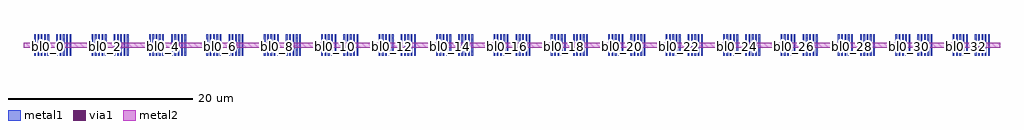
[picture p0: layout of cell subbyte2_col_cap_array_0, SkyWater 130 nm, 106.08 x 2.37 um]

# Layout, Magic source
magic
tech sky130A
magscale 1 2
<< metal1 >>
rect 222 0 258 395
rect 294 0 330 395
rect 438 0 474 395
rect 510 0 546 395
rect 702 0 738 395
rect 774 0 810 395
rect 918 0 954 395
rect 990 0 1026 395
rect 1470 0 1506 395
rect 1542 0 1578 395
rect 1686 0 1722 395
rect 1758 0 1794 395
rect 1950 0 1986 395
rect 2022 0 2058 395
rect 2166 0 2202 395
rect 2238 0 2274 395
rect 2718 0 2754 395
rect 2790 0 2826 395
rect 2934 0 2970 395
rect 3006 0 3042 395
rect 3198 0 3234 395
rect 3270 0 3306 395
rect 3414 0 3450 395
rect 3486 0 3522 395
rect 3966 0 4002 395
rect 4038 0 4074 395
rect 4182 0 4218 395
rect 4254 0 4290 395
rect 4446 0 4482 395
rect 4518 0 4554 395
rect 4662 0 4698 395
rect 4734 0 4770 395
rect 5214 0 5250 395
rect 5286 0 5322 395
rect 5430 0 5466 395
rect 5502 0 5538 395
rect 5694 0 5730 395
rect 5766 0 5802 395
rect 5910 0 5946 395
rect 5982 0 6018 395
rect 6462 0 6498 395
rect 6534 0 6570 395
rect 6678 0 6714 395
rect 6750 0 6786 395
rect 6942 0 6978 395
rect 7014 0 7050 395
rect 7158 0 7194 395
rect 7230 0 7266 395
rect 7710 0 7746 395
rect 7782 0 7818 395
rect 7926 0 7962 395
rect 7998 0 8034 395
rect 8190 0 8226 395
rect 8262 0 8298 395
rect 8406 0 8442 395
rect 8478 0 8514 395
rect 8958 0 8994 395
rect 9030 0 9066 395
rect 9174 0 9210 395
rect 9246 0 9282 395
rect 9438 0 9474 395
rect 9510 0 9546 395
rect 9654 0 9690 395
rect 9726 0 9762 395
rect 10206 0 10242 395
rect 10278 0 10314 395
rect 10422 0 10458 395
rect 10494 0 10530 395
rect 10686 0 10722 395
rect 10758 0 10794 395
rect 10902 0 10938 395
rect 10974 0 11010 395
rect 11454 0 11490 395
rect 11526 0 11562 395
rect 11670 0 11706 395
rect 11742 0 11778 395
rect 11934 0 11970 395
rect 12006 0 12042 395
rect 12150 0 12186 395
rect 12222 0 12258 395
rect 12702 0 12738 395
rect 12774 0 12810 395
rect 12918 0 12954 395
rect 12990 0 13026 395
rect 13182 0 13218 395
rect 13254 0 13290 395
rect 13398 0 13434 395
rect 13470 0 13506 395
rect 13950 0 13986 395
rect 14022 0 14058 395
rect 14166 0 14202 395
rect 14238 0 14274 395
rect 14430 0 14466 395
rect 14502 0 14538 395
rect 14646 0 14682 395
rect 14718 0 14754 395
rect 15198 0 15234 395
rect 15270 0 15306 395
rect 15414 0 15450 395
rect 15486 0 15522 395
rect 15678 0 15714 395
rect 15750 0 15786 395
rect 15894 0 15930 395
rect 15966 0 16002 395
rect 16446 0 16482 395
rect 16518 0 16554 395
rect 16662 0 16698 395
rect 16734 0 16770 395
rect 16926 0 16962 395
rect 16998 0 17034 395
rect 17142 0 17178 395
rect 17214 0 17250 395
rect 17694 0 17730 395
rect 17766 0 17802 395
rect 17910 0 17946 395
rect 17982 0 18018 395
rect 18174 0 18210 395
rect 18246 0 18282 395
rect 18390 0 18426 395
rect 18462 0 18498 395
rect 18942 0 18978 395
rect 19014 0 19050 395
rect 19158 0 19194 395
rect 19230 0 19266 395
rect 19422 0 19458 395
rect 19494 0 19530 395
rect 19638 0 19674 395
rect 19710 0 19746 395
rect 20190 0 20226 395
rect 20262 0 20298 395
rect 20406 0 20442 395
rect 20478 0 20514 395
rect 20670 0 20706 395
rect 20742 0 20778 395
rect 20886 0 20922 395
rect 20958 0 20994 395
<< metal2 >>
rect 0 174 21216 284
use sky130_fd_bd_sram__openram_dp_cell_cap_col  sky130_fd_bd_sram__openram_dp_cell_cap_col_0
timestamp -19799
transform 1 0 20592 0 1 0
box 0 0 624 474
use sky130_fd_bd_sram__openram_dp_cell_cap_col  sky130_fd_bd_sram__openram_dp_cell_cap_col_1
timestamp -19799
transform -1 0 20592 0 1 0
box 0 0 624 474
use sky130_fd_bd_sram__openram_dp_cell_cap_col  sky130_fd_bd_sram__openram_dp_cell_cap_col_2
timestamp -19799
transform 1 0 19344 0 1 0
box 0 0 624 474
use sky130_fd_bd_sram__openram_dp_cell_cap_col  sky130_fd_bd_sram__openram_dp_cell_cap_col_3
timestamp -19799
transform -1 0 19344 0 1 0
box 0 0 624 474
use sky130_fd_bd_sram__openram_dp_cell_cap_col  sky130_fd_bd_sram__openram_dp_cell_cap_col_4
timestamp -19799
transform 1 0 18096 0 1 0
box 0 0 624 474
use sky130_fd_bd_sram__openram_dp_cell_cap_col  sky130_fd_bd_sram__openram_dp_cell_cap_col_5
timestamp -19799
transform -1 0 18096 0 1 0
box 0 0 624 474
use sky130_fd_bd_sram__openram_dp_cell_cap_col  sky130_fd_bd_sram__openram_dp_cell_cap_col_6
timestamp -19799
transform 1 0 16848 0 1 0
box 0 0 624 474
use sky130_fd_bd_sram__openram_dp_cell_cap_col  sky130_fd_bd_sram__openram_dp_cell_cap_col_7
timestamp -19799
transform -1 0 16848 0 1 0
box 0 0 624 474
use sky130_fd_bd_sram__openram_dp_cell_cap_col  sky130_fd_bd_sram__openram_dp_cell_cap_col_8
timestamp -19799
transform 1 0 15600 0 1 0
box 0 0 624 474
use sky130_fd_bd_sram__openram_dp_cell_cap_col  sky130_fd_bd_sram__openram_dp_cell_cap_col_9
timestamp -19799
transform -1 0 15600 0 1 0
box 0 0 624 474
use sky130_fd_bd_sram__openram_dp_cell_cap_col  sky130_fd_bd_sram__openram_dp_cell_cap_col_10
timestamp -19799
transform 1 0 14352 0 1 0
box 0 0 624 474
use sky130_fd_bd_sram__openram_dp_cell_cap_col  sky130_fd_bd_sram__openram_dp_cell_cap_col_11
timestamp -19799
transform -1 0 14352 0 1 0
box 0 0 624 474
use sky130_fd_bd_sram__openram_dp_cell_cap_col  sky130_fd_bd_sram__openram_dp_cell_cap_col_12
timestamp -19799
transform 1 0 13104 0 1 0
box 0 0 624 474
use sky130_fd_bd_sram__openram_dp_cell_cap_col  sky130_fd_bd_sram__openram_dp_cell_cap_col_13
timestamp -19799
transform -1 0 13104 0 1 0
box 0 0 624 474
use sky130_fd_bd_sram__openram_dp_cell_cap_col  sky130_fd_bd_sram__openram_dp_cell_cap_col_14
timestamp -19799
transform 1 0 11856 0 1 0
box 0 0 624 474
use sky130_fd_bd_sram__openram_dp_cell_cap_col  sky130_fd_bd_sram__openram_dp_cell_cap_col_15
timestamp -19799
transform -1 0 11856 0 1 0
box 0 0 624 474
use sky130_fd_bd_sram__openram_dp_cell_cap_col  sky130_fd_bd_sram__openram_dp_cell_cap_col_16
timestamp -19799
transform 1 0 10608 0 1 0
box 0 0 624 474
use sky130_fd_bd_sram__openram_dp_cell_cap_col  sky130_fd_bd_sram__openram_dp_cell_cap_col_17
timestamp -19799
transform -1 0 10608 0 1 0
box 0 0 624 474
use sky130_fd_bd_sram__openram_dp_cell_cap_col  sky130_fd_bd_sram__openram_dp_cell_cap_col_18
timestamp -19799
transform 1 0 9360 0 1 0
box 0 0 624 474
use sky130_fd_bd_sram__openram_dp_cell_cap_col  sky130_fd_bd_sram__openram_dp_cell_cap_col_19
timestamp -19799
transform -1 0 9360 0 1 0
box 0 0 624 474
use sky130_fd_bd_sram__openram_dp_cell_cap_col  sky130_fd_bd_sram__openram_dp_cell_cap_col_20
timestamp -19799
transform 1 0 8112 0 1 0
box 0 0 624 474
use sky130_fd_bd_sram__openram_dp_cell_cap_col  sky130_fd_bd_sram__openram_dp_cell_cap_col_21
timestamp -19799
transform -1 0 8112 0 1 0
box 0 0 624 474
use sky130_fd_bd_sram__openram_dp_cell_cap_col  sky130_fd_bd_sram__openram_dp_cell_cap_col_22
timestamp -19799
transform 1 0 6864 0 1 0
box 0 0 624 474
use sky130_fd_bd_sram__openram_dp_cell_cap_col  sky130_fd_bd_sram__openram_dp_cell_cap_col_23
timestamp -19799
transform -1 0 6864 0 1 0
box 0 0 624 474
use sky130_fd_bd_sram__openram_dp_cell_cap_col  sky130_fd_bd_sram__openram_dp_cell_cap_col_24
timestamp -19799
transform 1 0 5616 0 1 0
box 0 0 624 474
use sky130_fd_bd_sram__openram_dp_cell_cap_col  sky130_fd_bd_sram__openram_dp_cell_cap_col_25
timestamp -19799
transform -1 0 5616 0 1 0
box 0 0 624 474
use sky130_fd_bd_sram__openram_dp_cell_cap_col  sky130_fd_bd_sram__openram_dp_cell_cap_col_26
timestamp -19799
transform 1 0 4368 0 1 0
box 0 0 624 474
use sky130_fd_bd_sram__openram_dp_cell_cap_col  sky130_fd_bd_sram__openram_dp_cell_cap_col_27
timestamp -19799
transform -1 0 4368 0 1 0
box 0 0 624 474
use sky130_fd_bd_sram__openram_dp_cell_cap_col  sky130_fd_bd_sram__openram_dp_cell_cap_col_28
timestamp -19799
transform 1 0 3120 0 1 0
box 0 0 624 474
use sky130_fd_bd_sram__openram_dp_cell_cap_col  sky130_fd_bd_sram__openram_dp_cell_cap_col_29
timestamp -19799
transform -1 0 3120 0 1 0
box 0 0 624 474
use sky130_fd_bd_sram__openram_dp_cell_cap_col  sky130_fd_bd_sram__openram_dp_cell_cap_col_30
timestamp -19799
transform 1 0 1872 0 1 0
box 0 0 624 474
use sky130_fd_bd_sram__openram_dp_cell_cap_col  sky130_fd_bd_sram__openram_dp_cell_cap_col_31
timestamp -19799
transform -1 0 1872 0 1 0
box 0 0 624 474
use sky130_fd_bd_sram__openram_dp_cell_cap_col  sky130_fd_bd_sram__openram_dp_cell_cap_col_32
timestamp -19799
transform 1 0 624 0 1 0
box 0 0 624 474
use sky130_fd_bd_sram__openram_dp_cell_cap_col  sky130_fd_bd_sram__openram_dp_cell_cap_col_33
timestamp -19799
transform -1 0 624 0 1 0
box 0 0 624 474
<< labels >>
rlabel metal1 s 510 0 546 395 4 bl0_0
port 3 nsew
rlabel metal1 s 438 0 474 395 4 br0_0
port 5 nsew
rlabel metal1 s 294 0 330 395 4 bl1_0
port 7 nsew
rlabel metal1 s 222 0 258 395 4 br1_0
port 9 nsew
rlabel metal1 s 702 0 738 395 4 bl0_1
port 11 nsew
rlabel metal1 s 774 0 810 395 4 br0_1
port 13 nsew
rlabel metal1 s 918 0 954 395 4 bl1_1
port 15 nsew
rlabel metal1 s 990 0 1026 395 4 br1_1
port 17 nsew
rlabel metal1 s 1758 0 1794 395 4 bl0_2
port 19 nsew
rlabel metal1 s 1686 0 1722 395 4 br0_2
port 21 nsew
rlabel metal1 s 1542 0 1578 395 4 bl1_2
port 23 nsew
rlabel metal1 s 1470 0 1506 395 4 br1_2
port 25 nsew
rlabel metal1 s 1950 0 1986 395 4 bl0_3
port 27 nsew
rlabel metal1 s 2022 0 2058 395 4 br0_3
port 29 nsew
rlabel metal1 s 2166 0 2202 395 4 bl1_3
port 31 nsew
rlabel metal1 s 2238 0 2274 395 4 br1_3
port 33 nsew
rlabel metal1 s 3006 0 3042 395 4 bl0_4
port 35 nsew
rlabel metal1 s 2934 0 2970 395 4 br0_4
port 37 nsew
rlabel metal1 s 2790 0 2826 395 4 bl1_4
port 39 nsew
rlabel metal1 s 2718 0 2754 395 4 br1_4
port 41 nsew
rlabel metal1 s 3198 0 3234 395 4 bl0_5
port 43 nsew
rlabel metal1 s 3270 0 3306 395 4 br0_5
port 45 nsew
rlabel metal1 s 3414 0 3450 395 4 bl1_5
port 47 nsew
rlabel metal1 s 3486 0 3522 395 4 br1_5
port 49 nsew
rlabel metal1 s 4254 0 4290 395 4 bl0_6
port 51 nsew
rlabel metal1 s 4182 0 4218 395 4 br0_6
port 53 nsew
rlabel metal1 s 4038 0 4074 395 4 bl1_6
port 55 nsew
rlabel metal1 s 3966 0 4002 395 4 br1_6
port 57 nsew
rlabel metal1 s 4446 0 4482 395 4 bl0_7
port 59 nsew
rlabel metal1 s 4518 0 4554 395 4 br0_7
port 61 nsew
rlabel metal1 s 4662 0 4698 395 4 bl1_7
port 63 nsew
rlabel metal1 s 4734 0 4770 395 4 br1_7
port 65 nsew
rlabel metal1 s 5502 0 5538 395 4 bl0_8
port 67 nsew
rlabel metal1 s 5430 0 5466 395 4 br0_8
port 69 nsew
rlabel metal1 s 5286 0 5322 395 4 bl1_8
port 71 nsew
rlabel metal1 s 5214 0 5250 395 4 br1_8
port 73 nsew
rlabel metal1 s 5694 0 5730 395 4 bl0_9
port 75 nsew
rlabel metal1 s 5766 0 5802 395 4 br0_9
port 77 nsew
rlabel metal1 s 5910 0 5946 395 4 bl1_9
port 79 nsew
rlabel metal1 s 5982 0 6018 395 4 br1_9
port 81 nsew
rlabel metal1 s 6750 0 6786 395 4 bl0_10
port 83 nsew
rlabel metal1 s 6678 0 6714 395 4 br0_10
port 85 nsew
rlabel metal1 s 6534 0 6570 395 4 bl1_10
port 87 nsew
rlabel metal1 s 6462 0 6498 395 4 br1_10
port 89 nsew
rlabel metal1 s 6942 0 6978 395 4 bl0_11
port 91 nsew
rlabel metal1 s 7014 0 7050 395 4 br0_11
port 93 nsew
rlabel metal1 s 7158 0 7194 395 4 bl1_11
port 95 nsew
rlabel metal1 s 7230 0 7266 395 4 br1_11
port 97 nsew
rlabel metal1 s 7998 0 8034 395 4 bl0_12
port 99 nsew
rlabel metal1 s 7926 0 7962 395 4 br0_12
port 101 nsew
rlabel metal1 s 7782 0 7818 395 4 bl1_12
port 103 nsew
rlabel metal1 s 7710 0 7746 395 4 br1_12
port 105 nsew
rlabel metal1 s 8190 0 8226 395 4 bl0_13
port 107 nsew
rlabel metal1 s 8262 0 8298 395 4 br0_13
port 109 nsew
rlabel metal1 s 8406 0 8442 395 4 bl1_13
port 111 nsew
rlabel metal1 s 8478 0 8514 395 4 br1_13
port 113 nsew
rlabel metal1 s 9246 0 9282 395 4 bl0_14
port 115 nsew
rlabel metal1 s 9174 0 9210 395 4 br0_14
port 117 nsew
rlabel metal1 s 9030 0 9066 395 4 bl1_14
port 119 nsew
rlabel metal1 s 8958 0 8994 395 4 br1_14
port 121 nsew
rlabel metal1 s 9438 0 9474 395 4 bl0_15
port 123 nsew
rlabel metal1 s 9510 0 9546 395 4 br0_15
port 125 nsew
rlabel metal1 s 9654 0 9690 395 4 bl1_15
port 127 nsew
rlabel metal1 s 9726 0 9762 395 4 br1_15
port 129 nsew
rlabel metal1 s 10494 0 10530 395 4 bl0_16
port 131 nsew
rlabel metal1 s 10422 0 10458 395 4 br0_16
port 133 nsew
rlabel metal1 s 10278 0 10314 395 4 bl1_16
port 135 nsew
rlabel metal1 s 10206 0 10242 395 4 br1_16
port 137 nsew
rlabel metal1 s 10686 0 10722 395 4 bl0_17
port 139 nsew
rlabel metal1 s 10758 0 10794 395 4 br0_17
port 141 nsew
rlabel metal1 s 10902 0 10938 395 4 bl1_17
port 143 nsew
rlabel metal1 s 10974 0 11010 395 4 br1_17
port 145 nsew
rlabel metal1 s 11742 0 11778 395 4 bl0_18
port 147 nsew
rlabel metal1 s 11670 0 11706 395 4 br0_18
port 149 nsew
rlabel metal1 s 11526 0 11562 395 4 bl1_18
port 151 nsew
rlabel metal1 s 11454 0 11490 395 4 br1_18
port 153 nsew
rlabel metal1 s 11934 0 11970 395 4 bl0_19
port 155 nsew
rlabel metal1 s 12006 0 12042 395 4 br0_19
port 157 nsew
rlabel metal1 s 12150 0 12186 395 4 bl1_19
port 159 nsew
rlabel metal1 s 12222 0 12258 395 4 br1_19
port 161 nsew
rlabel metal1 s 12990 0 13026 395 4 bl0_20
port 163 nsew
rlabel metal1 s 12918 0 12954 395 4 br0_20
port 165 nsew
rlabel metal1 s 12774 0 12810 395 4 bl1_20
port 167 nsew
rlabel metal1 s 12702 0 12738 395 4 br1_20
port 169 nsew
rlabel metal1 s 13182 0 13218 395 4 bl0_21
port 171 nsew
rlabel metal1 s 13254 0 13290 395 4 br0_21
port 173 nsew
rlabel metal1 s 13398 0 13434 395 4 bl1_21
port 175 nsew
rlabel metal1 s 13470 0 13506 395 4 br1_21
port 177 nsew
rlabel metal1 s 14238 0 14274 395 4 bl0_22
port 179 nsew
rlabel metal1 s 14166 0 14202 395 4 br0_22
port 181 nsew
rlabel metal1 s 14022 0 14058 395 4 bl1_22
port 183 nsew
rlabel metal1 s 13950 0 13986 395 4 br1_22
port 185 nsew
rlabel metal1 s 14430 0 14466 395 4 bl0_23
port 187 nsew
rlabel metal1 s 14502 0 14538 395 4 br0_23
port 189 nsew
rlabel metal1 s 14646 0 14682 395 4 bl1_23
port 191 nsew
rlabel metal1 s 14718 0 14754 395 4 br1_23
port 193 nsew
rlabel metal1 s 15486 0 15522 395 4 bl0_24
port 195 nsew
rlabel metal1 s 15414 0 15450 395 4 br0_24
port 197 nsew
rlabel metal1 s 15270 0 15306 395 4 bl1_24
port 199 nsew
rlabel metal1 s 15198 0 15234 395 4 br1_24
port 201 nsew
rlabel metal1 s 15678 0 15714 395 4 bl0_25
port 203 nsew
rlabel metal1 s 15750 0 15786 395 4 br0_25
port 205 nsew
rlabel metal1 s 15894 0 15930 395 4 bl1_25
port 207 nsew
rlabel metal1 s 15966 0 16002 395 4 br1_25
port 209 nsew
rlabel metal1 s 16734 0 16770 395 4 bl0_26
port 211 nsew
rlabel metal1 s 16662 0 16698 395 4 br0_26
port 213 nsew
rlabel metal1 s 16518 0 16554 395 4 bl1_26
port 215 nsew
rlabel metal1 s 16446 0 16482 395 4 br1_26
port 217 nsew
rlabel metal1 s 16926 0 16962 395 4 bl0_27
port 219 nsew
rlabel metal1 s 16998 0 17034 395 4 br0_27
port 221 nsew
rlabel metal1 s 17142 0 17178 395 4 bl1_27
port 223 nsew
rlabel metal1 s 17214 0 17250 395 4 br1_27
port 225 nsew
rlabel metal1 s 17982 0 18018 395 4 bl0_28
port 227 nsew
rlabel metal1 s 17910 0 17946 395 4 br0_28
port 229 nsew
rlabel metal1 s 17766 0 17802 395 4 bl1_28
port 231 nsew
rlabel metal1 s 17694 0 17730 395 4 br1_28
port 233 nsew
rlabel metal1 s 18174 0 18210 395 4 bl0_29
port 235 nsew
rlabel metal1 s 18246 0 18282 395 4 br0_29
port 237 nsew
rlabel metal1 s 18390 0 18426 395 4 bl1_29
port 239 nsew
rlabel metal1 s 18462 0 18498 395 4 br1_29
port 241 nsew
rlabel metal1 s 19230 0 19266 395 4 bl0_30
port 243 nsew
rlabel metal1 s 19158 0 19194 395 4 br0_30
port 245 nsew
rlabel metal1 s 19014 0 19050 395 4 bl1_30
port 247 nsew
rlabel metal1 s 18942 0 18978 395 4 br1_30
port 249 nsew
rlabel metal1 s 19422 0 19458 395 4 bl0_31
port 251 nsew
rlabel metal1 s 19494 0 19530 395 4 br0_31
port 253 nsew
rlabel metal1 s 19638 0 19674 395 4 bl1_31
port 255 nsew
rlabel metal1 s 19710 0 19746 395 4 br1_31
port 257 nsew
rlabel metal1 s 20478 0 20514 395 4 bl0_32
port 259 nsew
rlabel metal1 s 20406 0 20442 395 4 br0_32
port 261 nsew
rlabel metal1 s 20262 0 20298 395 4 bl1_32
port 263 nsew
rlabel metal1 s 20190 0 20226 395 4 br1_32
port 265 nsew
rlabel metal1 s 20670 0 20706 395 4 bl0_33
port 267 nsew
rlabel metal1 s 20742 0 20778 395 4 br0_33
port 269 nsew
rlabel metal1 s 20886 0 20922 395 4 bl1_33
port 271 nsew
rlabel metal1 s 20958 0 20994 395 4 br1_33
port 273 nsew
rlabel metal2 s 11232 174 11856 284 4 vdd
port 275 nsew
rlabel metal2 s 5616 174 6240 284 4 vdd
port 275 nsew
rlabel metal2 s 4992 174 5616 284 4 vdd
port 275 nsew
rlabel metal2 s 16224 174 16848 284 4 vdd
port 275 nsew
rlabel metal2 s 6240 174 6864 284 4 vdd
port 275 nsew
rlabel metal2 s 15600 174 16224 284 4 vdd
port 275 nsew
rlabel metal2 s 14976 174 15600 284 4 vdd
port 275 nsew
rlabel metal2 s 3744 174 4368 284 4 vdd
port 275 nsew
rlabel metal2 s 624 174 1248 284 4 vdd
port 275 nsew
rlabel metal2 s 8736 174 9360 284 4 vdd
port 275 nsew
rlabel metal2 s 20592 174 21216 284 4 vdd
port 275 nsew
rlabel metal2 s 6864 174 7488 284 4 vdd
port 275 nsew
rlabel metal2 s 11856 174 12480 284 4 vdd
port 275 nsew
rlabel metal2 s 10608 174 11232 284 4 vdd
port 275 nsew
rlabel metal2 s 9360 174 9984 284 4 vdd
port 275 nsew
rlabel metal2 s 19344 174 19968 284 4 vdd
port 275 nsew
rlabel metal2 s 8112 174 8736 284 4 vdd
port 275 nsew
rlabel metal2 s 13104 174 13728 284 4 vdd
port 275 nsew
rlabel metal2 s 12480 174 13104 284 4 vdd
port 275 nsew
rlabel metal2 s 1872 174 2496 284 4 vdd
port 275 nsew
rlabel metal2 s 13728 174 14352 284 4 vdd
port 275 nsew
rlabel metal2 s 4368 174 4992 284 4 vdd
port 275 nsew
rlabel metal2 s 18096 174 18720 284 4 vdd
port 275 nsew
rlabel metal2 s 7488 174 8112 284 4 vdd
port 275 nsew
rlabel metal2 s 3120 174 3744 284 4 vdd
port 275 nsew
rlabel metal2 s 9984 174 10608 284 4 vdd
port 275 nsew
rlabel metal2 s 17472 174 18096 284 4 vdd
port 275 nsew
rlabel metal2 s 18720 174 19344 284 4 vdd
port 275 nsew
rlabel metal2 s 2496 174 3120 284 4 vdd
port 275 nsew
rlabel metal2 s 0 174 624 284 4 vdd
port 275 nsew
rlabel metal2 s 1248 174 1872 284 4 vdd
port 275 nsew
rlabel metal2 s 14352 174 14976 284 4 vdd
port 275 nsew
rlabel metal2 s 19968 174 20592 284 4 vdd
port 275 nsew
rlabel metal2 s 16848 174 17472 284 4 vdd
port 275 nsew
<< properties >>
string FIXED_BBOX 0 0 21216 474
<< end >>

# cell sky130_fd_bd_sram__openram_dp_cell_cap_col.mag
magic
tech sky130A
magscale 1 2
timestamp -19799
<< metal1 >>
rect 78 0 114 474
rect 150 0 186 474
rect 222 300 258 474
rect 214 256 266 300
rect 214 158 266 204
rect 222 0 258 158
rect 294 0 330 474
rect 366 0 402 474
<< via1 >>
rect 214 204 266 256
<< metal2 >>
rect 0 256 624 284
rect 0 204 214 256
rect 266 204 624 256
rect 0 174 624 204
<< labels >>
rlabel metal1 s 78 158 114 474 4 BL0
port 3 nsew
rlabel metal1 s 294 158 330 474 4 BL1
port 5 nsew
rlabel metal1 s 150 158 186 474 4 BR0
port 7 nsew
rlabel metal1 s 366 158 402 474 4 BR1
port 9 nsew
rlabel metal2 s 0 174 624 284 4 VDD
port 11 nsew
rlabel metal1 s 96 316 96 316 4 bl0
port 12 nsew
rlabel metal1 s 168 316 168 316 4 br0
port 13 nsew
rlabel metal1 s 312 316 312 316 4 bl1
port 14 nsew
rlabel metal1 s 384 316 384 316 4 br1
port 15 nsew
rlabel metal2 s 312 229 312 229 4 vdd
port 16 nsew
<< properties >>
string FIXED_BBOX 0 0 624 474
<< end >>
